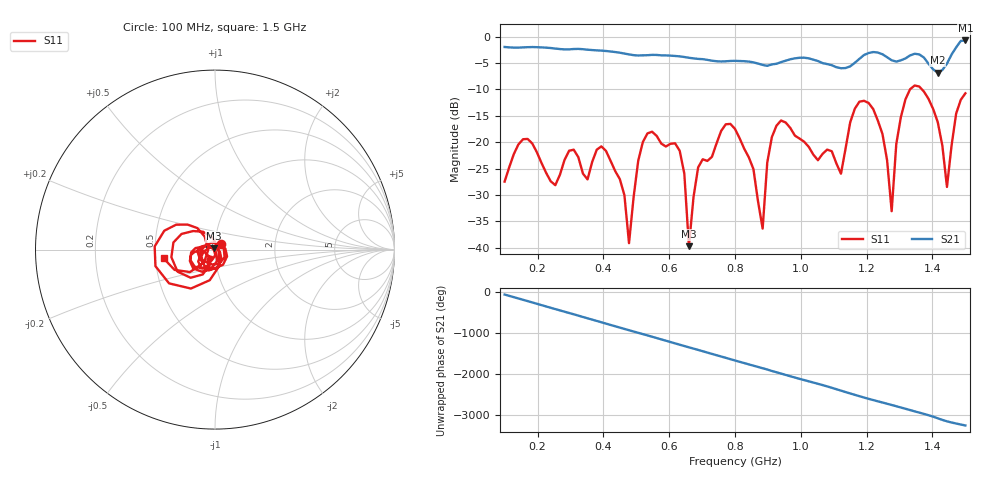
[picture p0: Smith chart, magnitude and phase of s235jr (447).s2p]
! NanoVNA-App
! Date: 2025-09-25 15:07:38
! Start: 100MHz Stop: 1,5GHz Points: 101
! S-Parameter data: F S11 S21 S12 S22
# Hz S RI R 50
!  Frequency  S11_Real  S11_Imag  S21_Real  S21_Imag  S12_Real  S12_Imag  S22_Real  S22_Imag
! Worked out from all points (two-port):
!   101 points, 100 MHz to 1.5 GHz, reference 50 ohm
!   highest |S21| = -0.73 dB at 1.5 GHz (marker M1); lowest = -6.8 dB at 1.416 GHz (marker M2)
!   |S21| within 3 dB of the highest: start of sweep to 630.1 MHz; 1.187 GHz to 1.258 GHz (70.33 MHz wide, 5.75 % of centre)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
!   lowest |S11| = -39.7 dB at 660 MHz (marker M3), VSWR 1.02, Z = 49.2 + j0.64 ohm
!   |S11| at or under -10 dB: start of sweep to 1.332 GHz; 1.368 GHz to end of sweep
!   S12 and S22 are empty: the file has one direction only
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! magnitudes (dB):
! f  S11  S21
! 100 MHz  -27.5  -2.0
! 156 MHz  -19.4  -2.0
! 338 MHz  -26.0  -2.4
! 408 MHz  -21.7  -2.7
! 478 MHz  -39.1  -3.4
! 520 MHz  -20.0  -3.5
! 576 MHz  -20.3  -3.5
! 632 MHz  -21.6  -3.7
! 660 MHz  -39.7  -4.0
! 688 MHz  -24.8  -4.2
! 800 MHz  -17.5  -4.6
! 884 MHz  -36.4  -5.4
! 926 MHz  -16.9  -5.1
! 1.038 GHz  -22.4  -4.4
! 1.122 GHz  -26.0  -6.0
! 1.206 GHz  -12.6  -3.1
! 1.276 GHz  -33.1  -4.5
! 1.29 GHz  -20.4  -4.7
! 1.332 GHz  -10.0  -3.6
! 1.416 GHz  -16.2  -6.8
! 1.444 GHz  -28.5  -5.1
! 1.5 GHz  -10.7  -0.7
